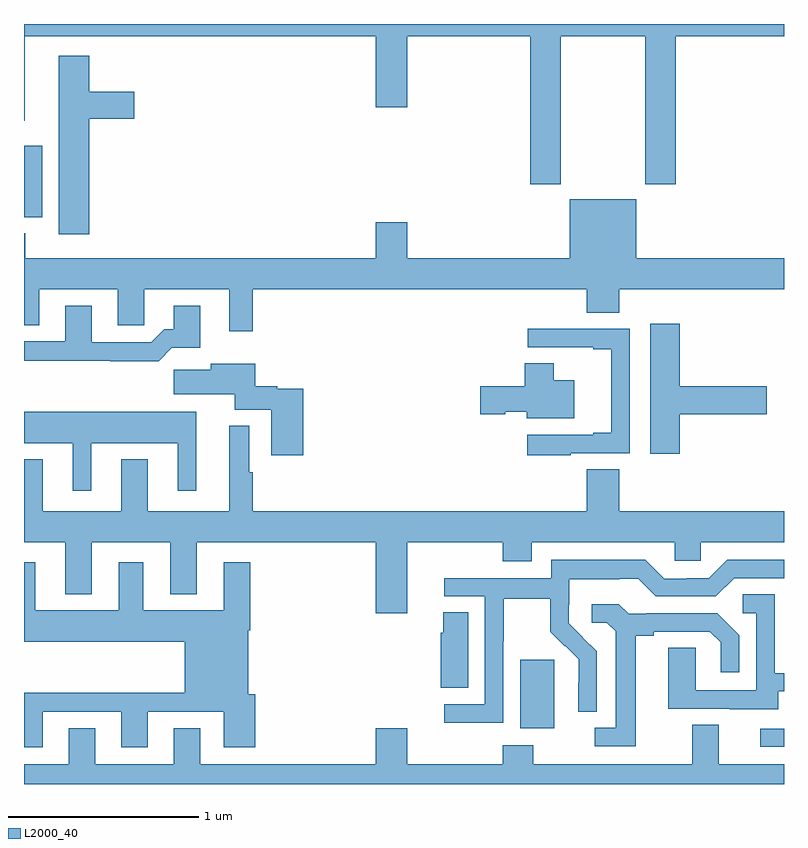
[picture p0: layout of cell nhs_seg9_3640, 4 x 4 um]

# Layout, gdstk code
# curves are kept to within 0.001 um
import gdstk
lib = gdstk.Library(unit=1e-6, precision=1e-09)
def R(c, l, rs):  # rectangles x0, y0, x1, y1
    for r in rs: c.add(gdstk.rectangle(r[:2], r[2:], *l))
def P(c, l, *ps):  # polygons
    for p in ps: c.add(gdstk.Polygon(p, *l))
L2000_40 = (2000, 40)

nhs_seg9_3640 = lib.new_cell('nhs_seg9_3640')
R(nhs_seg9_3640, L2000_40, [(322.875,1176.696,323,1176.792), (321.611,1176.794,321.79,1177.155), (319,1179.483,319.095,1179.859)])
P(nhs_seg9_3640, L2000_40, [(321.825,1180.436),(322.27,1180.436),(322.27,1179.657),(322.43,1179.657),(322.43,1180.436),(323,1180.436),(323,1180.5),(319,1180.5),(319,1179.99),(319.004,1179.99),(319.004,1180.436),(320.852,1180.436),(320.852,1180.062),(321.016,1180.062),(321.016,1180.436),(321.665,1180.436),(321.665,1179.657),(321.825,1179.657)],
  [(319.343,1180.001),(319.579,1180.001),(319.579,1180.143),(319.343,1180.143),(319.343,1180.333),(319.184,1180.333),(319.184,1179.393),(319.343,1179.393)],
  [(320.203,1179.104),(321.962,1179.104),(321.962,1178.98),(322.133,1178.98),(322.133,1179.104),(323,1179.104),(323,1179.268),(322.222,1179.268),(322.222,1179.577),(321.872,1179.577),(321.872,1179.268),(321.016,1179.268),(321.016,1179.457),(320.852,1179.457),(320.852,1179.268),(319.006,1179.268),(319.006,1179.398),(319,1179.398),(319,1178.914),(319.081,1178.914),(319.081,1179.104),(319.493,1179.104),(319.493,1178.914),(319.632,1178.914),(319.632,1179.104),(320.081,1179.104),(320.081,1178.883),(320.203,1178.883)],
  [(319.778,1178.795),(319.927,1178.795),(319.927,1179.016),(319.787,1179.016),(319.787,1178.893),(319.738,1178.893),(319.671,1178.826),(319.357,1178.826),(319.357,1179.016),(319.217,1179.016),(319.217,1178.829),(319,1178.829),(319,1178.728),(319.453,1178.728),(319.453,1178.726),(319.709,1178.726)],
  [(322.451,1178.447),(322.909,1178.447),(322.909,1178.594),(322.451,1178.594),(322.451,1178.923),(322.295,1178.923),(322.295,1178.238),(322.451,1178.238)],
  [(321.878,1178.241),(322.188,1178.241),(322.188,1178.895),(321.878,1178.895),(321.878,1178.897),(321.651,1178.897),(321.651,1178.799),(321.995,1178.799),(321.995,1178.787),(322.091,1178.787),(322.091,1178.35),(321.995,1178.35),(321.995,1178.337),(321.648,1178.337),(321.648,1178.229),(321.878,1178.229)],
  [(321.895,1178.626),(321.789,1178.626),(321.789,1178.714),(321.635,1178.714),(321.635,1178.594),(321.402,1178.594),(321.402,1178.447),(321.533,1178.447),(321.533,1178.459),(321.647,1178.459),(321.647,1178.426),(321.895,1178.426)],
  [(320.471,1178.581),(320.334,1178.581),(320.334,1178.594),(320.218,1178.594),(320.218,1178.713),(319.982,1178.713),(319.982,1178.681),(319.788,1178.681),(319.788,1178.552),(320.108,1178.552),(320.108,1178.471),(320.3,1178.471),(320.3,1178.229),(320.471,1178.229)],
  [(319.354,1178.294),(319.808,1178.294),(319.808,1178.043),(319.906,1178.043),(319.906,1178.458),(319,1178.458),(319,1178.294),(319.256,1178.294),(319.256,1178.043),(319.354,1178.043)],
  [(321.016,1177.772),(321.521,1177.772),(321.521,1177.673),(321.673,1177.673),(321.673,1177.772),(322.425,1177.772),(322.425,1177.674),(322.563,1177.674),(322.563,1177.772),(323,1177.772),(323,1177.936),(322.133,1177.936),(322.133,1178.156),(321.962,1178.156),(321.962,1177.936),(320.203,1177.936),(320.203,1178.141),(320.185,1178.141),(320.185,1178.386),(320.081,1178.386),(320.081,1177.936),(319.651,1177.936),(319.651,1178.209),(319.511,1178.209),(319.511,1177.936),(319.099,1177.936),(319.099,1178.209),(319,1178.209),(319,1177.772),(319.217,1177.772),(319.217,1177.499),(319.357,1177.499),(319.357,1177.772),(319.769,1177.772),(319.769,1177.499),(319.909,1177.499),(319.909,1177.772),(320.852,1177.772),(320.852,1177.398),(321.016,1177.398)],
  [(321.522,1177.252),(321.525,1177.252),(321.525,1177.476),(321.769,1177.476),(321.769,1177.301),(321.846,1177.224),(321.849,1177.227),(321.92,1177.157),(321.92,1177.034),(321.918,1177.034),(321.918,1176.88),(322.014,1176.88),(322.014,1177.198),(321.868,1177.346),(321.868,1177.443),(321.87,1177.443),(321.87,1177.577),(322.133,1177.577),(322.133,1177.581),(322.233,1177.581),(322.326,1177.488),(322.641,1177.488),(322.737,1177.584),(323,1177.584),(323,1177.68),(322.701,1177.68),(322.605,1177.584),(322.487,1177.584),(322.487,1177.581),(322.371,1177.581),(322.271,1177.681),(321.774,1177.681),(321.774,1177.584),(321.213,1177.584),(321.213,1177.488),(321.426,1177.488),(321.426,1176.921),(321.213,1176.921),(321.213,1176.823),(321.522,1176.823)],
  [(319.099,1176.879),(319.511,1176.879),(319.511,1176.693),(319.651,1176.693),(319.651,1176.879),(320.051,1176.879),(320.051,1176.693),(320.216,1176.693),(320.216,1176.972),(320.179,1176.972),(320.179,1177.31),(320.192,1177.31),(320.192,1177.666),(320.051,1177.666),(320.051,1177.414),(319.627,1177.414),(319.627,1177.666),(319.499,1177.666),(319.499,1177.414),(319.06,1177.414),(319.06,1177.666),(319,1177.666),(319,1177.25),(319.847,1177.25),(319.847,1176.98),(319,1176.98),(319,1176.693),(319.099,1176.693)],
  [(322.969,1176.987),(323,1176.987),(323,1177.083),(322.95,1177.083),(322.95,1177.499),(322.782,1177.499),(322.782,1177.398),(322.854,1177.398),(322.854,1176.993),(322.536,1176.993),(322.536,1177.217),(322.391,1177.217),(322.391,1176.897),(322.715,1176.897),(322.715,1176.893),(322.969,1176.893)],
  [(322.219,1177.28),(322.315,1177.28),(322.315,1177.302),(322.61,1177.302),(322.667,1177.245),(322.667,1177.089),(322.764,1177.089),(322.764,1177.282),(322.648,1177.398),(322.276,1177.398),(322.276,1177.395),(322.182,1177.395),(322.13,1177.447),(321.987,1177.447),(321.987,1177.35),(322.068,1177.35),(322.115,1177.303),(322.115,1176.795),(322.005,1176.795),(322.005,1176.699),(322.219,1176.699)],
  [(321.337,1177.403),(321.206,1177.403),(321.206,1177.295),(321.194,1177.295),(321.194,1177.006),(321.337,1177.006)],
  [(323,1176.604),(322.657,1176.604),(322.657,1176.812),(322.517,1176.812),(322.517,1176.604),(321.681,1176.604),(321.681,1176.703),(321.521,1176.703),(321.521,1176.604),(321.016,1176.604),(321.016,1176.793),(320.852,1176.793),(320.852,1176.604),(319.927,1176.604),(319.927,1176.794),(319.787,1176.794),(319.787,1176.604),(319.375,1176.604),(319.375,1176.794),(319.235,1176.794),(319.235,1176.604),(319,1176.604),(319,1176.5),(323,1176.5)])

lib.write_gds('nhs_seg9_3640.gds')
